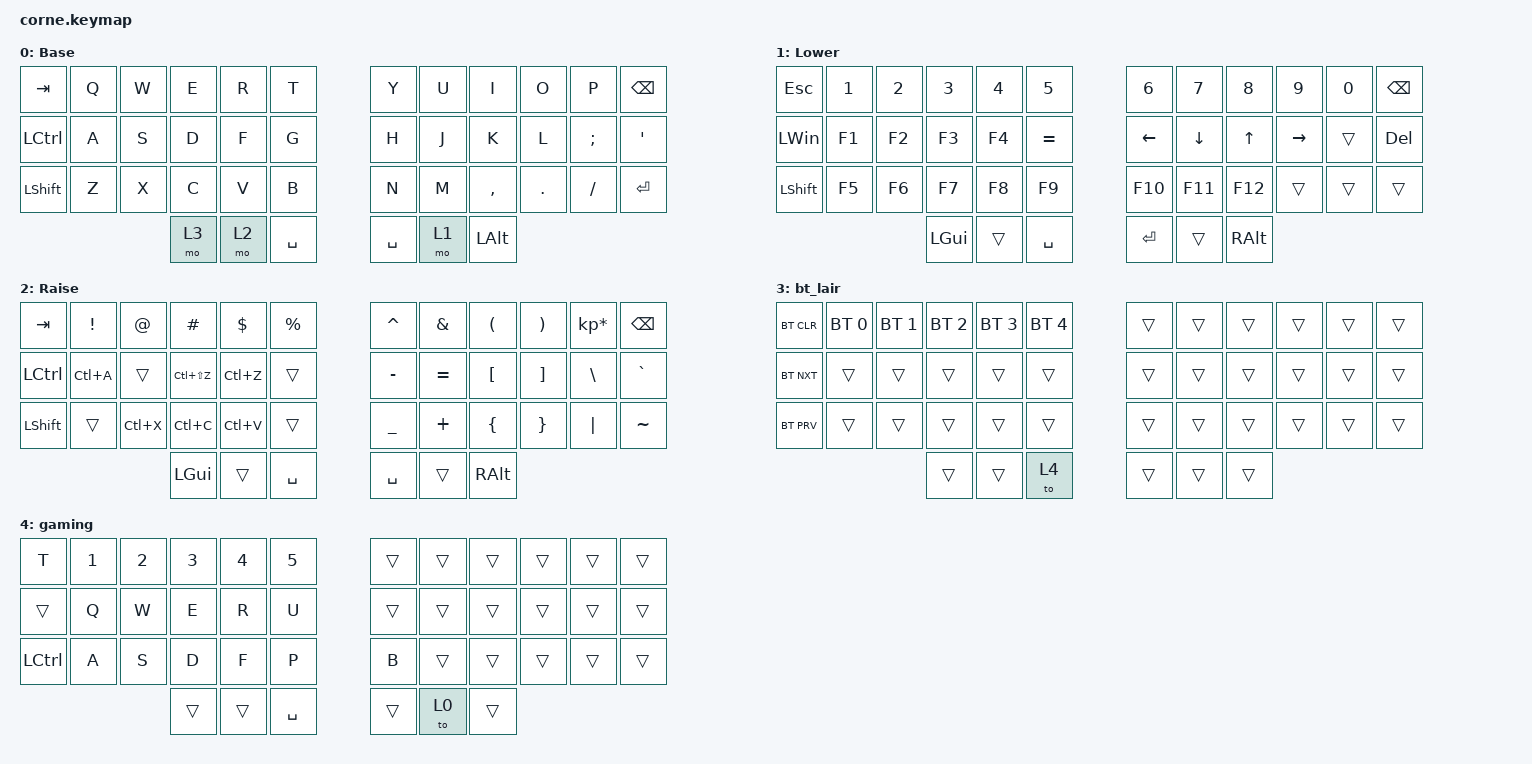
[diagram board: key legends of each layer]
/*
 * Copyright (c) 2020 The ZMK Contributors
 *
 * SPDX-License-Identifier: MIT
 */

#include <behaviors.dtsi>
#include <dt-bindings/zmk/bt.h>
#include <dt-bindings/zmk/keys.h>

/ {
    combos { compatible = "zmk,combos"; };

    keymap {
        compatible = "zmk,keymap";

        default_layer {
            // -----------------------------------------------------------------------------------------
            // |  TAB |  Q  |  W  |  E  |  R  |  T  |   |  Y  |  U   |  I  |  O  |  P  | BKSP |
            // | CTRL |  A  |  S  |  D  |  F  |  G  |   |  H  |  J   |  K  |  L  |  ;  |  '   |
            // | SHFT |  Z  |  X  |  C  |  V  |  B  |   |  N  |  M   |  ,  |  .  |  /  | ESC  |
            //                    | GUI | LWR | SPC |   | ENT | RSE  | ALT |

            display-name = "Base";
            bindings = <
&kp TAB           &kp Q  &kp W  &kp E  &kp R  &kp T        &kp Y      &kp U  &kp I         &kp O    &kp P     &kp BSPC
&kp LEFT_CONTROL  &kp A  &kp S  &kp D  &kp F  &kp G        &kp H      &kp J  &kp K         &kp L    &kp SEMI  &kp SQT
&kp LEFT_SHIFT    &kp Z  &kp X  &kp C  &kp V  &kp B        &kp N      &kp M  &kp COMMA     &kp DOT  &kp FSLH  &kp ENTER
                                &mo 3  &mo 2  &kp SPACE    &kp SPACE  &mo 1  &kp LEFT_ALT
            >;
        };

        lower_layer {
            // -----------------------------------------------------------------------------------------
            // |  TAB |  1  |  2  |  3  |  4  |  5  |   |  6  |  7  |  8  |  9  |  0  | BKSP |
            // | BTCLR| BT1 | BT2 | BT3 | BT4 | BT5 |   | LFT | DWN |  UP | RGT |     |      |
            // | SHFT |     |     |     |     |     |   |     |     |     |     |     |      |
            //                    | GUI |     | SPC |   | ENT |     | ALT |

            display-name = "Lower";
            bindings = <
&kp ESCAPE    &kp N1  &kp N2  &kp N3    &kp N4  &kp N5       &kp N6    &kp N7    &kp N8    &kp N9     &kp N0  &kp BACKSPACE
&kp LEFT_WIN  &kp F1  &kp F2  &kp F3    &kp F4  &kp EQUAL    &kp LEFT  &kp DOWN  &kp UP    &kp RIGHT  &trans  &kp DELETE
&kp LSHFT     &kp F5  &kp F6  &kp F7    &kp F8  &kp F9       &kp F10   &kp F11   &kp F12   &trans     &trans  &trans
                              &kp LGUI  &trans  &kp SPACE    &kp RET   &trans    &kp RALT
            >;
        };

        raise_layer {
            // -----------------------------------------------------------------------------------------
            // |  TAB |  !  |  @  |  #  |  $  |  %  |   |  ^  |  &  |  *  |  (  |  )  | BKSP |
            // | CTRL |     |     |     |     |     |   |  -  |  =  |  [  |  ]  |  \  |  `   |
            // | SHFT |     |     |     |     |     |   |  _  |  +  |  {  |  }  | "|" |  ~   |
            //                    | GUI |     | SPC |   | ENT |     | ALT |

            display-name = "Raise";
            bindings = <
&kp TAB    &kp EXCL   &kp AT     &kp HASH       &kp DLLR   &kp PRCNT    &kp CARET  &kp AMPS   &kp LEFT_PARENTHESIS  &kp RIGHT_PARENTHESIS  &kp KP_ASTERISK  &kp BSPC
&kp LCTRL  &kp LC(A)  &trans     &kp LC(LS(Z))  &kp LC(Z)  &trans       &kp MINUS  &kp EQUAL  &kp LBKT              &kp RBKT               &kp BSLH         &kp GRAVE
&kp LSHFT  &trans     &kp LC(X)  &kp LC(C)      &kp LC(V)  &trans       &kp UNDER  &kp PLUS   &kp LBRC              &kp RBRC               &kp PIPE         &kp TILDE
                                 &kp LGUI       &trans     &kp SPACE    &kp SPACE  &trans     &kp RALT
            >;
        };

        bt_lair {
            bindings = <
&bt BT_CLR  &bt BT_SEL 0  &bt BT_SEL 1  &bt BT_SEL 2  &bt BT_SEL 3  &bt BT_SEL 4    &trans  &trans  &trans  &trans  &trans  &trans
&bt BT_NXT  &trans        &trans        &trans        &trans        &trans          &trans  &trans  &trans  &trans  &trans  &trans
&bt BT_PRV  &trans        &trans        &trans        &trans        &trans          &trans  &trans  &trans  &trans  &trans  &trans
                                        &trans        &trans        &to 4           &trans  &trans  &trans
            >;
        };

        gaming {
            bindings = <
&kp T             &kp NUMBER_1  &kp NUMBER_2  &kp NUMBER_3  &kp NUMBER_4  &kp N5       &trans  &trans  &trans  &trans  &trans  &trans
&trans            &kp Q         &kp W         &kp E         &kp R         &kp U        &trans  &trans  &trans  &trans  &trans  &trans
&kp LEFT_CONTROL  &kp A         &kp S         &kp D         &kp F         &kp P        &kp B   &trans  &trans  &trans  &trans  &trans
                                              &trans        &trans        &kp SPACE    &trans  &to 0   &trans
            >;
        };
    };
};
